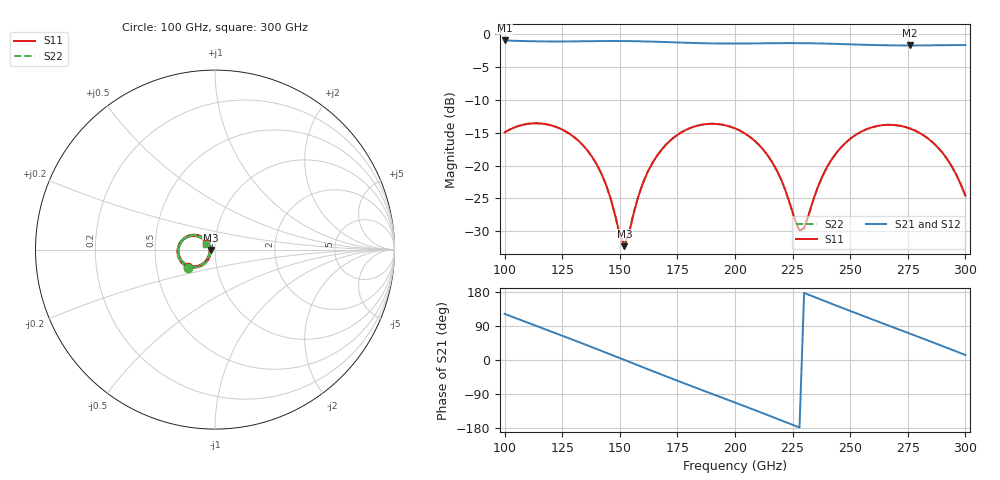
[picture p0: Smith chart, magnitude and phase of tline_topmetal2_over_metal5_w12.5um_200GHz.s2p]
#  GHZ S DB R 50
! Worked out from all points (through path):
!   101 points, 100 GHz to 300 GHz, reference 50 ohm
!   highest |S21| = -0.99 dB at 100 GHz (marker M1); lowest = -1.8 dB at 276 GHz (marker M2)
!   group delay of S21, straight-line fit = 6.52 ps
!   lowest |S11| = -32.2 dB at 152 GHz (marker M3), VSWR 1.05, Z = 47.6 - j0.243 ohm
!   |S11| at or under -10 dB: start of sweep to end of sweep
!   |S22| runs from -31.9 to -13.6 dB; largest |S21 - S12| = 1e-13
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100  -14.96 -146.1  -0.99 121.8  -0.99 121.8  -14.96 -146.0
108  -13.80 -162.9  -1.08 103.2  -1.08 103.2  -13.80 -162.8
116  -13.62 -179.7  -1.13 84.8  -1.13 84.8  -13.62 -179.5
124  -14.36 163.8  -1.15 66.3  -1.15 66.3  -14.36 164.0
134  -16.91 144.4  -1.12 43.1  -1.12 43.1  -16.91 144.8
144  -22.90 132.0  -1.08 19.4  -1.08 19.4  -22.88 132.8
152  -32.25 -174.0  -1.09 0.2  -1.09 0.2  -31.91 -173.6
160  -22.71 -123.7  -1.13 -19.0  -1.13 -19.0  -22.66 -124.3
168  -17.65 -132.9  -1.21 -38.1  -1.21 -38.1  -17.63 -133.2
184  -13.91 -163.4  -1.40 -75.5  -1.40 -75.5  -13.91 -163.5
200  -14.35 164.9  -1.46 -112.3  -1.46 -112.3  -14.35 164.8
216  -19.40 138.3  -1.42 -149.6  -1.42 -149.6  -19.42 138.1
228  -29.87 174.9  -1.41 -178.2  -1.41 -178.2  -30.04 174.9
230  -29.46 -159.8  -1.41 177.0  -1.41 177.0  -29.61 -159.1
234  -25.19 -133.7  -1.43 167.4  -1.43 167.4  -25.24 -133.0
240  -20.20 -130.7  -1.48 153.1  -1.48 153.1  -20.22 -130.1
248  -16.54 -141.3  -1.56 134.1  -1.56 134.1  -16.54 -140.9
258  -14.36 -159.3  -1.67 110.8  -1.67 110.8  -14.36 -159.0
268  -13.82 -178.4  -1.74 87.8  -1.74 87.8  -13.82 -178.1
276  -14.38 166.5  -1.75 69.4  -1.75 69.4  -14.38 166.9
290  -18.03 143.6  -1.72 36.9  -1.72 36.9  -18.04 144.0
300  -24.58 144.2  -1.69 13.2  -1.69 13.2  -24.59 144.8
